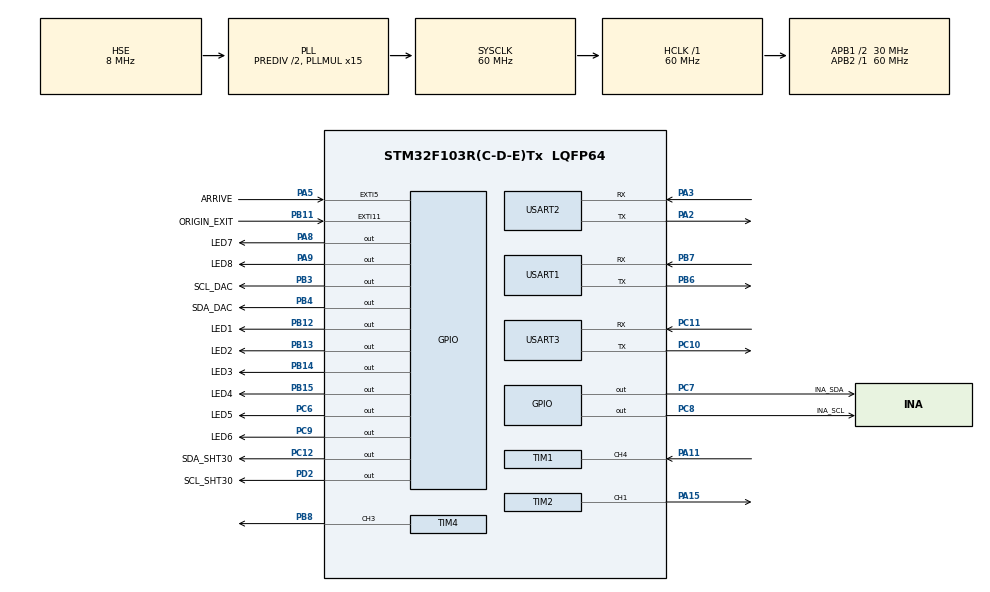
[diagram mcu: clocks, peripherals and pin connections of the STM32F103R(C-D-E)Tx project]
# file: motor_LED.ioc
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Dma.Request0=USART1_TX
Dma.Request1=USART1_RX
Dma.Request2=USART3_TX
Dma.Request3=USART3_RX
Dma.Request4=USART2_TX
Dma.USART1_RX.1.Direction=DMA_PERIPH_TO_MEMORY
Dma.USART1_RX.1.Instance=DMA1_Channel5
Dma.USART1_RX.1.MemDataAlignment=DMA_MDATAALIGN_BYTE
Dma.USART1_RX.1.MemInc=DMA_MINC_ENABLE
Dma.USART1_RX.1.Mode=DMA_NORMAL
Dma.USART1_RX.1.PeriphDataAlignment=DMA_PDATAALIGN_BYTE
Dma.USART1_RX.1.PeriphInc=DMA_PINC_DISABLE
Dma.USART1_RX.1.Priority=DMA_PRIORITY_LOW
Dma.USART1_TX.0.Direction=DMA_MEMORY_TO_PERIPH
Dma.USART1_TX.0.Instance=DMA1_Channel4
Dma.USART1_TX.0.MemDataAlignment=DMA_MDATAALIGN_BYTE
Dma.USART1_TX.0.MemInc=DMA_MINC_ENABLE
Dma.USART1_TX.0.Mode=DMA_NORMAL
Dma.USART1_TX.0.PeriphDataAlignment=DMA_PDATAALIGN_BYTE
Dma.USART1_TX.0.PeriphInc=DMA_PINC_DISABLE
Dma.USART1_TX.0.Priority=DMA_PRIORITY_LOW
Dma.USART2_TX.4.Direction=DMA_MEMORY_TO_PERIPH
Dma.USART2_TX.4.Instance=DMA1_Channel7
Dma.USART2_TX.4.MemDataAlignment=DMA_MDATAALIGN_BYTE
Dma.USART2_TX.4.MemInc=DMA_MINC_ENABLE
Dma.USART2_TX.4.Mode=DMA_NORMAL
Dma.USART2_TX.4.PeriphDataAlignment=DMA_PDATAALIGN_BYTE
Dma.USART2_TX.4.PeriphInc=DMA_PINC_DISABLE
Dma.USART2_TX.4.Priority=DMA_PRIORITY_LOW
Dma.USART3_RX.3.Direction=DMA_PERIPH_TO_MEMORY
Dma.USART3_RX.3.Instance=DMA1_Channel3
Dma.USART3_RX.3.MemDataAlignment=DMA_MDATAALIGN_BYTE
Dma.USART3_RX.3.MemInc=DMA_MINC_ENABLE
Dma.USART3_RX.3.Mode=DMA_NORMAL
Dma.USART3_RX.3.PeriphDataAlignment=DMA_PDATAALIGN_BYTE
Dma.USART3_RX.3.PeriphInc=DMA_PINC_DISABLE
Dma.USART3_RX.3.Priority=DMA_PRIORITY_LOW
Dma.USART3_TX.2.Direction=DMA_MEMORY_TO_PERIPH
Dma.USART3_TX.2.Instance=DMA1_Channel2
Dma.USART3_TX.2.MemDataAlignment=DMA_MDATAALIGN_BYTE
Dma.USART3_TX.2.MemInc=DMA_MINC_ENABLE
Dma.USART3_TX.2.Mode=DMA_NORMAL
Dma.USART3_TX.2.PeriphDataAlignment=DMA_PDATAALIGN_BYTE
Dma.USART3_TX.2.PeriphInc=DMA_PINC_DISABLE
Dma.USART3_TX.2.Priority=DMA_PRIORITY_LOW
Mcu.Family=STM32F1
Mcu.Name=STM32F103R(C-D-E)Tx
Mcu.Package=LQFP64
NVIC.DMA1_Channel2_IRQn=true\:0\:0\:false\:false\:true\:true\:true\:true
NVIC.DMA1_Channel3_IRQn=true\:0\:0\:false\:false\:true\:true\:true\:true
NVIC.DMA1_Channel4_IRQn=true\:0\:0\:false\:false\:true\:true\:true\:true
NVIC.DMA1_Channel5_IRQn=true\:0\:0\:false\:false\:true\:true\:true\:true
NVIC.DMA1_Channel7_IRQn=true\:0\:0\:false\:false\:true\:true\:true\:true
NVIC.EXTI15_10_IRQn=true\:1\:0\:true\:false\:true\:true\:true\:true
NVIC.EXTI9_5_IRQn=true\:0\:0\:false\:false\:true\:true\:true\:true
NVIC.PriorityGroup=NVIC_PRIORITYGROUP_4
NVIC.TIM2_IRQn=true\:0\:0\:false\:false\:true\:true\:true\:true
NVIC.TIM3_IRQn=true\:0\:0\:false\:false\:true\:true\:true\:true
NVIC.TIM4_IRQn=true\:0\:0\:false\:false\:true\:true\:true\:true
NVIC.USART1_IRQn=true\:0\:0\:false\:false\:true\:true\:true\:true
NVIC.USART2_IRQn=true\:0\:0\:false\:false\:true\:true\:true\:true
NVIC.USART3_IRQn=true\:0\:0\:false\:false\:true\:true\:true\:true
PA11.Signal=S_TIM1_CH4
PA13.Mode=Serial_Wire
PA13.Signal=SYS_JTMS-SWDIO
PA14.Mode=Serial_Wire
PA14.Signal=SYS_JTCK-SWCLK
PA15.Signal=S_TIM2_CH1_ETR
PA2.Mode=Asynchronous
PA2.Signal=USART2_TX
PA3.Mode=Asynchronous
PA3.Signal=USART2_RX
PA5.GPIO_Label=ARRIVE
PA5.GPIO_ModeDefaultEXTI=GPIO_MODE_IT_RISING
PA5.GPIO_PuPd=GPIO_PULLUP
PA5.Signal=GPXTI5
PA8.GPIO_Label=LED7
PA8.Signal=GPIO_Output
PA9.GPIO_Label=LED8
PA9.Signal=GPIO_Output
PB11.GPIO_Label=ORIGIN_EXIT
PB11.GPIO_PuPd=GPIO_PULLDOWN
PB11.Signal=GPXTI11
PB12.GPIO_Label=LED1
PB12.Signal=GPIO_Output
PB13.GPIO_Label=LED2
PB13.Signal=GPIO_Output
PB14.GPIO_Label=LED3
PB14.Signal=GPIO_Output
PB15.GPIO_Label=LED4
PB15.Signal=GPIO_Output
PB3.GPIO_Label=SCL_DAC
PB3.GPIO_ModeDefaultOutputPP=GPIO_MODE_OUTPUT_OD
PB3.GPIO_PuPd=GPIO_PULLUP
PB3.GPIO_Speed=GPIO_SPEED_FREQ_HIGH
PB3.PinState=GPIO_PIN_SET
PB3.Signal=GPIO_Output
PB4.GPIO_Label=SDA_DAC
PB4.GPIO_ModeDefaultOutputPP=GPIO_MODE_OUTPUT_OD
PB4.GPIO_PuPd=GPIO_PULLUP
PB4.GPIO_Speed=GPIO_SPEED_FREQ_HIGH
PB4.PinState=GPIO_PIN_SET
PB4.Signal=GPIO_Output
PB6.Mode=Asynchronous
PB6.Signal=USART1_TX
PB7.Mode=Asynchronous
PB7.Signal=USART1_RX
PB8.Signal=S_TIM4_CH3
PC10.Mode=Asynchronous
PC10.Signal=USART3_TX
PC11.Mode=Asynchronous
PC11.Signal=USART3_RX
PC12.GPIO_Label=SDA_SHT30
PC12.GPIO_ModeDefaultOutputPP=GPIO_MODE_OUTPUT_OD
PC12.GPIO_PuPd=GPIO_PULLUP
PC12.GPIO_Speed=GPIO_SPEED_FREQ_HIGH
PC12.PinState=GPIO_PIN_SET
PC12.Signal=GPIO_Output
PC6.GPIO_Label=LED5
PC6.Signal=GPIO_Output
PC7.GPIO_Label=INA_SDA
PC7.GPIO_ModeDefaultOutputPP=GPIO_MODE_OUTPUT_OD
PC7.GPIO_PuPd=GPIO_PULLUP
PC7.GPIO_Speed=GPIO_SPEED_FREQ_HIGH
PC7.PinState=GPIO_PIN_SET
PC7.Signal=GPIO_Output
PC8.GPIO_Label=INA_SCL
PC8.GPIO_ModeDefaultOutputPP=GPIO_MODE_OUTPUT_OD
PC8.GPIO_PuPd=GPIO_PULLUP
PC8.GPIO_Speed=GPIO_SPEED_FREQ_HIGH
PC8.PinState=GPIO_PIN_SET
PC8.Signal=GPIO_Output
PC9.GPIO_Label=LED6
PC9.Signal=GPIO_Output
PD0-OSC_IN.Mode=HSE-External-Oscillator
PD0-OSC_IN.Signal=RCC_OSC_IN
PD1-OSC_OUT.Mode=HSE-External-Oscillator
PD1-OSC_OUT.Signal=RCC_OSC_OUT
PD2.GPIO_Label=SCL_SHT30
PD2.GPIO_ModeDefaultOutputPP=GPIO_MODE_OUTPUT_OD
PD2.GPIO_PuPd=GPIO_PULLUP
PD2.GPIO_Speed=GPIO_SPEED_FREQ_HIGH
PD2.PinState=GPIO_PIN_SET
PD2.Signal=GPIO_Output
ProjectManager.HeapSize=0x200
ProjectManager.StackSize=0x400
ProjectManager.TargetToolchain=MDK-ARM V5
RCC.AHBFreq_Value=60000000
RCC.APB1CLKDivider=RCC_HCLK_DIV2
RCC.APB1Freq_Value=30000000
RCC.APB1TimFreq_Value=60000000
RCC.APB2Freq_Value=60000000
RCC.APB2TimFreq_Value=60000000
RCC.HCLKFreq_Value=60000000
RCC.HSEDivPLL=RCC_HSE_PREDIV_DIV2
RCC.PLLMUL=RCC_PLL_MUL15
RCC.PLLSourceVirtual=RCC_PLLSOURCE_HSE
RCC.SYSCLKFreq_VALUE=60000000
RCC.SYSCLKSource=RCC_SYSCLKSOURCE_PLLCLK
RCC.USBFreq_Value=60000000
SH.S_TIM1_CH4.0=TIM1_CH4,Input_Capture4_from_TI4
SH.S_TIM2_CH1_ETR.0=TIM2_CH1,PWM Generation1 CH1
SH.S_TIM4_CH3.0=TIM4_CH3,PWM Generation3 CH3
TIM1.Channel-Input_Capture4_from_TI4=TIM_CHANNEL_4
TIM1.Prescaler=60-1
TIM2.Channel-PWM\ Generation1\ CH1=TIM_CHANNEL_1
TIM2.OCPolarity_1=TIM_OCPOLARITY_LOW
TIM2.Period=1000-1
TIM2.Prescaler=3-1
TIM2.Pulse-PWM\ Generation1\ CH1=0
TIM3.Period=1000-1
TIM3.Prescaler=60-1
TIM4.Channel-PWM\ Generation3\ CH3=TIM_CHANNEL_3
TIM4.Period=1000-1
TIM4.Prescaler=3-1
USART1.VirtualMode=VM_ASYNC
USART2.VirtualMode=VM_ASYNC
USART3.VirtualMode=VM_ASYNC
VP_TIM1_VS_ClockSourceINT.Mode=Internal
VP_TIM2_VS_ClockSourceINT.Mode=Internal
VP_TIM3_VS_ClockSourceINT.Mode=Internal
VP_TIM4_VS_ClockSourceINT.Mode=Internal
board=custom

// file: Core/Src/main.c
/* USER CODE BEGIN Header */
/**
  ******************************************************************************
  * @file           : main.c
  * @brief          : Main program body
  ******************************************************************************
  * @attention
  *
  * <h2><center>&copy; Copyright (c) 2024 STMicroelectronics.
  * All rights reserved.</center></h2>
  *
  * This software component is licensed by ST under BSD 3-Clause license,
  * the "License"; You may not use this file except in compliance with the
  * License. You may obtain a copy of the License at:
  *                        opensource.org/licenses/BSD-3-Clause
  *
  ******************************************************************************
  */
/* USER CODE END Header */
#include "main.h"
#include "dma.h"
#include "tim.h"
#include "usart.h"
#include "gpio.h"

/* USER CODE BEGIN Includes */
#include "stdio.h"
#include "string.h"
#include "myiic.h"
#include "GP8211S.h"
#include "./delay/core_delay.h"
#include <stdlib.h>
#include "motor_ctrl.h"
#include "sht30.h"
#include "ina228.h"
#include "spectrum.h"
#include "pid.h"
#include "pid_dowith.h"
#include "pid_shared.h"
/* USER CODE END Includes */

/* USER CODE BEGIN PTD */
extern TIM_HandleTypeDef htim2;
extern TIM_HandleTypeDef htim3;
extern TIM_HandleTypeDef htim4;
extern DMA_HandleTypeDef hdma_usart1_tx;
extern DMA_HandleTypeDef hdma_usart1_rx;
extern DMA_HandleTypeDef hdma_usart2_tx;
extern DMA_HandleTypeDef hdma_usart3_tx;
extern DMA_HandleTypeDef hdma_usart3_rx;
extern UART_HandleTypeDef huart1;
extern UART_HandleTypeDef huart2;
extern UART_HandleTypeDef huart3;
extern int k_zhendang_1,k_zhendang_2,PID_fly;
uint8_t  ina1s_flag,temp_flag,adj_flag,printf_flag;
uint8_t  temp_times;//Current_VALUE,
uint8_t TASK_BUFF[20];
/* USER CODE END PTD */

/* USER CODE BEGIN PV */
float Singer_Temp,Total_Temp,Current_VALUE,Temp,Hum;			//声明变量存放温湿度数据
uint8_t str_len;
uint8_t motor_flag,light_flag,reset_flag=0,ina_flag=0,baseflag=0,mode_flag=0,arrive_flag=1,Nchange_flag=0,rx_flag=0,get_bc_flag=0,get_bt_flag=0,temp_printf_flag=0;

int LED_Val;//LED的占空比
int	LED_Val_1=0,LED_Val_2=0,LED_Val_3=0,LED_Val_4=0;
//extern float LED_spec[6];

int32_t Current_Reg_VALUE,Bus_V_Reg_VALUE;

float LED_temp,LED_current;
float VBUS_VALUE,BASE_Current,BASE_VBUS,BASE_TEMP,ADJ_TEMP;
float adj_current;
__IO float TARGET;
float USER_SETDC=0,NOW_SETDC;
char CURRENT_BUFF[9];
char CMP_BUFF[10];//触摸屏发送报文
uint8_t BUSY_BUFF[3]={0x30,0xEE,0xEE};
uint8_t ERROR_BUFF[3]={0x30,0xFF,0xFF};

#define 	NOISE_VBUS 10//10mV电压噪声
#define   SHUNT_X    0.963//0.963//电流系数
#define   ADJ_L8		 7.317//LED8的校准因子
#define   K7			-0.54

#define   K_385   -0.4632	 //
#define   K_435   -0.1276		 //合丰435
#define   K_488		-0.1387  //合丰488nm
#define   K_520   -0.1741	 //yf520
//#define   K_520   -0.1498	 //散热80%测得
#define   K_560   -0.2231	 //553nm
#define		K_635		-0.6727
#define   K_805   -0.323	 //盈峰805nm

#define   current_key    0//维持电流稳定
#define		adj_key				 1//维持功率稳定
#define		NONE				 2//无任何调节
uint8_t		MODE=NONE ;//默认维持电流稳定
//电机结构体
typedef struct
{
	uint32_t	 CLK;//电机移动需要的脉冲
	uint32_t	 NOW_POS;//电机现在位置
	uint32_t	 TARGET_POS;//电机目标位置
	uint8_t  	 DIR;//电机移动的方向
	uint8_t  	 STATE;//电机的状态
}motor;
motor	MOTOR  = {0,0,0,0,0};
//电机状态
#define MOTOR_STOP		0x00			//电机停止
#define MOTOR_RUN			0x01			//电机运行

#define MOTOR_ADD 		0x01			//电机地址
//电机移动方向
#define RESET_DIR			0x00			//复位方向
#define MOVE_UP				0x00      //向上移动
#define MOVE_DOWN 		0x01 			//向下移动
//电机速度
#define RESET_SPEED 	30 				//复位速度30RPM
#define CHANGE_SPEED  600			//LED切换速度
//加减速时间,加减速时间计算公式：t2 - t1 = (256 - acc) * 50(us)，Vt2 = Vt1 + 1(RPM)（注：acc 为加速度档位，Vt1为 t1 时刻的转速，Vt2为 t2 时刻的转速）
#define RESET_ACC 		0xFC 			//复位加减速
#define CHANGE_ACC		0xFF			//LED切换速度
//细分
#define MSETP					256
//脉冲数
#define RESET_CLK			900*MSETP	//复位最大脉冲
#define MOVE_1LED			100*MSETP	//移动一个LED脉冲
#define MOVE_2LED			200*MSETP
#define MOVE_3LED			300*MSETP
#define MOVE_4LED			400*MSETP
#define MOVE_5LED			500*MSETP
#define MOVE_6LED			600*MSETP
#define MOVE_7LED			700*MSETP
#define MOVE_8LED			800*MSETP
//移动模式，相位/绝对模式，false为相对运动，true为绝对运动
#define REL_MODE			false
#define ABS_MODE			true
//多机同步标志 ，false为不启用，true为启用
#define SINGLE_MODE		false

uint8_t WPID_BUFF[17]={0x01 ,0x4A ,0xC3 ,0x010 ,0x00 ,0x00 ,0x7D ,0x00 ,0x00 ,0x00 ,0x00 ,0x0A ,0x00 ,0x00 ,0x7D ,0x00 ,0x6B};
uint8_t RPID_BUFF[3]={0x01 ,0x21 ,0x6B};
//10WLED位置宏定义八波长
//#define POS_ORIGIN	MSETP*(105   )
//#define POS_LED1		MSETP*(105   )
//#define POS_LED2		MSETP*(196   )
//#define POS_LED3		MSETP*(291   )
//#define POS_LED4		MSETP*(385     )
//#define POS_LED5		MSETP*(481      )
//#define POS_LED6		MSETP*(577       )
//#define POS_LED7		MSETP*(670     )
//#define POS_LED8		MSETP*(768	   )
//自用3WLED位置宏定义八波长
//#define POS_ORIGIN	MSETP*(100   )
//#define POS_LED1		MSETP*(100   )
//#define POS_LED2		MSETP*(195   )
//#define POS_LED3		MSETP*(286   )
//#define POS_LED4		MSETP*(383     )
//#define POS_LED5		MSETP*(480      )
//#define POS_LED6		MSETP*(572       )
//#define POS_LED7		MSETP*(670     )
//#define POS_LED8		MSETP*(760	   )
////魏老师红外3WLED位置宏定义八波长
//#define POS_ORIGIN	MSETP*(98   )
//#define POS_LED1		MSETP*(98   )
//#define POS_LED2		MSETP*(198   )
//#define POS_LED3		MSETP*(295   )
//#define POS_LED4		MSETP*(387     )
//#define POS_LED5		MSETP*(483      )
//#define POS_LED6		MSETP*(579       )
//#define POS_LED7		MSETP*(670     )
//#define POS_LED8		MSETP*(760	   )
////小论文四波长，LED位置宏定义
#define POS_ORIGIN	MSETP*(148   )
#define POS_LED1		MSETP*(148   )
#define POS_LED2		MSETP*(332   )
#define POS_LED3		MSETP*(528   )
#define POS_LED4		MSETP*(720     )
#define POS_LED5		MSETP*(483      )
#define POS_LED6		MSETP*(579       )
#define POS_LED7		MSETP*(670     )
#define POS_LED8		MSETP*(768	   )
//#define POS_ORIGIN	MSETP*(100  -0   )
//#define POS_LED1		MSETP*(100  -0   )
//#define POS_LED2		MSETP*(200  -0   )
//#define POS_LED3		MSETP*(300  -0   )
//#define POS_LED4		MSETP*(400    -0   )
//#define POS_LED5		MSETP*(500    -0   )
//#define POS_LED6		MSETP*(600    -0   )
//#define POS_LED7		MSETP*(700 -0   )
//#define POS_LED8		MSETP*(800    -0   )
//LED开关宏定义
#define	ON_LED1			HAL_GPIO_WritePin(LED1_GPIO_Port,LED1_Pin,GPIO_PIN_SET)
#define ON_LED2			HAL_GPIO_WritePin(LED2_GPIO_Port,LED2_Pin,GPIO_PIN_SET)
#define	ON_LED3			HAL_GPIO_WritePin(LED3_GPIO_Port,LED3_Pin,GPIO_PIN_SET)
#define	ON_LED4     HAL_GPIO_WritePin(LED4_GPIO_Port,LED4_Pin,GPIO_PIN_SET)
#define	ON_LED5     HAL_GPIO_WritePin(LED5_GPIO_Port,LED5_Pin,GPIO_PIN_SET)
#define	ON_LED6     HAL_GPIO_WritePin(LED6_GPIO_Port,LED6_Pin,GPIO_PIN_SET)
#define	ON_LED7     HAL_GPIO_WritePin(LED7_GPIO_Port,LED7_Pin,GPIO_PIN_SET)
#define	ON_LED8     HAL_GPIO_WritePin(LED8_GPIO_Port,LED8_Pin,GPIO_PIN_SET)

#define	OFF_LED1		HAL_GPIO_WritePin(LED1_GPIO_Port,LED1_Pin,GPIO_PIN_RESET)
#define OFF_LED2		HAL_GPIO_WritePin(LED2_GPIO_Port,LED2_Pin,GPIO_PIN_RESET)
#define	OFF_LED3		HAL_GPIO_WritePin(LED3_GPIO_Port,LED3_Pin,GPIO_PIN_RESET)
#define	OFF_LED4    HAL_GPIO_WritePin(LED4_GPIO_Port,LED4_Pin,GPIO_PIN_RESET)
#define	OFF_LED5    HAL_GPIO_WritePin(LED5_GPIO_Port,LED5_Pin,GPIO_PIN_RESET)
#define	OFF_LED6    HAL_GPIO_WritePin(LED6_GPIO_Port,LED6_Pin,GPIO_PIN_RESET)
#define	OFF_LED7    HAL_GPIO_WritePin(LED7_GPIO_Port,LED7_Pin,GPIO_PIN_RESET)
#define	OFF_LED8    HAL_GPIO_WritePin(LED8_GPIO_Port,LED8_Pin,GPIO_PIN_RESET)

/* USER CODE END PV */

void SystemClock_Config(void);

/* USER CODE BEGIN 0 */

uint16_t temp_counter,current_counter,printf_couner;
void HAL_TIM_PeriodElapsedCallback(TIM_HandleTypeDef *htim)
{
	if(htim->Instance==TIM3)
	{
		temp_counter++;current_counter++;printf_couner++;
		if(temp_counter==100)
		{
		temp_flag=1;
		temp_counter=0;
		}
		if(current_counter==50)
		{
		ina1s_flag=1;
		current_counter=0;
		}
		if(printf_couner==1000)
		{
		printf_flag=1;
		printf_couner=0;
		}
	}
}
void HAL_UARTEx_RxEventCallback(UART_HandleTypeDef *huart, uint16_t Size)
{
		  if(huart->Instance == USART1)
			{
				__HAL_UART_CLEAR_IDLEFLAG(&huart1);
				HAL_UART_DMAStop(&huart1);
				memcpy(TASK_BUFF,RX_BUFF,Size);
				rx_flag=1;
				str_len = Size;
				HAL_UARTEx_ReceiveToIdle_DMA(&huart1, RX_BUFF, 100);
				//__HAL_DMA_DISABLE_IT(&hdma_usart1_rx,DMA_IT_HT);//关闭DMA半满中断
			}
			if(huart->Instance == USART3)
			{
				__HAL_UART_CLEAR_IDLEFLAG(&huart3);
				HAL_UART_DMAStop(&huart3);
			  rx_flag=1;
				str_len = Size;
				if(Size==4)
				{
					rx_flag=1;//接收完成
					str_len = Size;//数据长度
					memcpy(TASK_BUFF,RX_BUFF,Size);
				}
				if(Size<4)
				{
					static uint8_t offset_len=0;//存储上次的长度
					memcpy(TASK_BUFF+offset_len,RX_BUFF,Size);
					offset_len+=Size;
					if(offset_len<4)
					{
						rx_flag=0;
					}
					else if(offset_len==4)
					{
						rx_flag=1;
						str_len=4;
						offset_len=0;
					}

					else if(offset_len>4)
					{
						rx_flag=0;
						offset_len=0;
					}
				}
				HAL_UARTEx_ReceiveToIdle_DMA(&huart3, RX_BUFF, 100);
				//__HAL_DMA_DISABLE_IT(&hdma_usart3_rx,DMA_IT_HT);
			}
}
int fputc(int ch, FILE * f){
		HAL_UART_Transmit_DMA(&huart1, (uint8_t *)&ch, 1);///<普通串口发送数据
  while(__HAL_UART_GET_FLAG(&huart1, UART_FLAG_TC) == RESET){}///<等待发送完成
  return ch;
}
void reset_task(void)
{
	OFF_LED1;
  OFF_LED2;
	OFF_LED3;
	OFF_LED4;
	OFF_LED5;
	OFF_LED6;
	OFF_LED7;
	OFF_LED8;
	HAL_TIM_PWM_Start(&htim2,TIM_CHANNEL_1);
	HAL_Delay(1000);
}
void light_off(void)
{
		HAL_TIM_PWM_Stop(&htim4,TIM_CHANNEL_3);
	  OFF_LED1;OFF_LED2;OFF_LED3;OFF_LED4;OFF_LED5;OFF_LED6;OFF_LED7;OFF_LED8;
}

void motor_task()
{
	if(MOTOR.NOW_POS>MOTOR.TARGET_POS)//电机需要向上移
	{
		light_off();//移动前先关闭LED
		MOTOR.DIR=MOVE_UP	;//向上移动
		MOTOR.CLK=MOTOR.NOW_POS-MOTOR.TARGET_POS;		//计算相对移动脉冲
		Emm_V5_Pos_Control(MOTOR_ADD, MOTOR.DIR, CHANGE_SPEED, CHANGE_ACC, MOTOR.CLK, REL_MODE, SINGLE_MODE);//控制电机移动
		MOTOR.NOW_POS=MOTOR.TARGET_POS;//电机现在位置变为目标位置
		arrive_flag=0;//电机移动中，到位标志位清零
	}
	else if(MOTOR.NOW_POS<MOTOR.TARGET_POS)//电机需要向下移
	{
		light_off();
		MOTOR.DIR=MOVE_DOWN;//向下移动
		MOTOR.CLK=MOTOR.TARGET_POS-MOTOR.NOW_POS;
		Emm_V5_Pos_Control(MOTOR_ADD, MOTOR.DIR, CHANGE_SPEED, CHANGE_ACC, MOTOR.CLK, REL_MODE, SINGLE_MODE);
		MOTOR.NOW_POS=MOTOR.TARGET_POS;
		arrive_flag=0;
	}
	else//电机无需移动
	{
		arrive_flag=1;//电机到位
	}
}

//LED控制任务
// 去掉 motor_task() 的调用和 arrive_flag 逻辑
// 在 UART 解析里：
// if (valid_cmd) { light_flag = 1; /* 不再设置 motor_flag */ }

// 在全局范围声明
uint8_t channel;  // 1–8 为 LED，9 为风扇，0x0A 为模式切换
uint8_t action;   // 0x10 开，0x01 关
uint8_t level;    // 0–100

 //重写 light_task：
void light_task(void)
{
	    // ★ 新增：锁 & 记忆当前通道
    static uint8_t user_setdc_locked = 0;   // 0 可更新；1 锁定，不再被报文覆盖
    static uint8_t last_led_channel  = 0;   // 上一次工作的 LED 通道 (1~8

     channel = TASK_BUFF[1];  // 1–8 为 LED，9 为风扇，0x0A 为模式切换
     action  = TASK_BUFF[3];  // 0x10 开，0x01 关
     level   = TASK_BUFF[2];  // 0–100

    // --------- 模式切换 ---------
    if (channel == 0x0A) {
        mode_flag = (level == 1) ? 1 : 0;  // 0：模拟调光，1：PWM 调光
        return;
    }

    // --------- 风扇控制 ---------
    if (channel == 9) {
        if (action == 0x10) { // 开风扇
            uint16_t pwm = (level == 100)
                ? (level * 10 - 1)
                : (level > 0 ? level * 10 : 0);
            TIM2->CCR1 = pwm;
            if (pwm) HAL_TIM_PWM_Start(&htim2, TIM_CHANNEL_2);
            else     HAL_TIM_PWM_Stop(&htim2, TIM_CHANNEL_2);
        } else if (action == 0x01) { // 关风扇
            TIM2->CCR1 = 0;
            HAL_TIM_PWM_Stop(&htim2, TIM_CHANNEL_2);
        }
        return;
    }

    // --------- LED 调光 ---------
    if (channel >= 1 && channel <= 8)
    {
//			        // ★ 若切换了 LED 通道，允许下一次 ON 更新 USER_SETDC
//        if (channel != last_led_channel) {
//            user_setdc_locked = 0;
//            last_led_channel  = channel;
//        }
        if (action == 0x10) // 开灯并调光
        {
            // ★ 仅在“未锁定”时，从报文写入一次 USER_SETDC，并同步初始化 NOW_SETDC
         //   if (!user_setdc_locked) {
                USER_SETDC = level;     // 只在首次 ON 或切换通道后的首次 ON 覆盖
                NOW_SETDC  = USER_SETDC; // 初始化一次，之后由你在别处实时调整
         //       user_setdc_locked = 1;   // 上锁：后续同通道的 ON 报文不再覆盖
         //   }
            if (mode_flag == 0)  // 模拟调光 (DAC)
            {
                if (USER_SETDC == 0) {
                    TIM4->CCR3 = 0;
                } else {
                    //float voltage = (USER_SETDC) / 10.0f;
                    GP8211S_Set_Value(GP8211S_Add, (NOW_SETDC)/100.0f*10);
                    TARGET = (NOW_SETDC)/100.0f*10;
                    TIM4->CCR3 = 4500;
                }
            }
            else                // PWM 调光
            {
                GP8211S_Set_Value(GP8211S_Add, 10.0f);
                if (USER_SETDC == 0)      TIM4->CCR3 = 0;
                else if (USER_SETDC == 100) TIM4->CCR3 = 4500 - 1;
                else                      TIM4->CCR3 = USER_SETDC * 45;
            }

		if(MOTOR.TARGET_POS==POS_LED1)		 {	OFF_LED2;OFF_LED3;OFF_LED4;OFF_LED5;OFF_LED6;OFF_LED7;OFF_LED8;ON_LED1; }//目标LED是1号，关闭其他LED，仅开启1号LED
		else if(MOTOR.TARGET_POS==POS_LED2){	OFF_LED1;OFF_LED3;OFF_LED4;OFF_LED5;OFF_LED6;OFF_LED7;OFF_LED8;ON_LED2; }
		else if(MOTOR.TARGET_POS==POS_LED3){	OFF_LED1;OFF_LED2;OFF_LED4;OFF_LED5;OFF_LED6;OFF_LED7;OFF_LED8;ON_LED3; }
		else if(MOTOR.TARGET_POS==POS_LED4){	OFF_LED1;OFF_LED2;OFF_LED3;OFF_LED5;OFF_LED6;OFF_LED7;OFF_LED8;ON_LED4; }
		else if(MOTOR.TARGET_POS==POS_LED5){	OFF_LED1;OFF_LED2;OFF_LED3;OFF_LED4;OFF_LED6;OFF_LED7;OFF_LED8;ON_LED5; }
		else if(MOTOR.TARGET_POS==POS_LED6){	OFF_LED1;OFF_LED2;OFF_LED3;OFF_LED4;OFF_LED5;OFF_LED7;OFF_LED8;ON_LED6; }
		else if(MOTOR.TARGET_POS==POS_LED7){	OFF_LED1;OFF_LED2;OFF_LED3;OFF_LED4;OFF_LED5;OFF_LED6;OFF_LED8;ON_LED7; }
		else if(MOTOR.TARGET_POS==POS_LED8){	OFF_LED1;OFF_LED2;OFF_LED3;OFF_LED4;OFF_LED5;OFF_LED6;OFF_LED7;ON_LED8; }
//
//            // 先关闭所有 LED，再打开指定通道
//            OFF_LED1; OFF_LED2; OFF_LED3; OFF_LED4;
//            OFF_LED5; OFF_LED6; OFF_LED7; OFF_LED8;

//						switch (channel) {
//                case 1: ON_LED1; break;//yingguangqd();
//                case 2: ON_LED2; break;
//                case 3: ON_LED3; break;
//                case 4: ON_LED4; break;
//                case 5: ON_LED5; break;
//                case 6: ON_LED6; break;
//                case 7: ON_LED7; break;
//                case 8: ON_LED8; break;
//            }

            HAL_TIM_PWM_Start(&htim4, TIM_CHANNEL_3);
            HAL_Delay(100);
            ina_flag  = 1;
            baseflag  = 1;
        }
        else if (action == 0x01) // 关灯
        {
            light_off();
            ina_flag     = 0;
            Current_VALUE= 0;
            VBUS_VALUE   = 0;

//					  // ★ 关灯时解锁：允许下一次 ON 用新 level 覆盖 USER_SETDC
//            user_setdc_locked = 0;
        }
    }
}

//电流测量任务
void ina_task()
{
		if(baseflag==1)
		{
			//HAL_Delay(100);
			BASE_Current=GET_CURRENT()*SHUNT_X;//初始电流
			BASE_VBUS=GET_VBUS()-NOISE_VBUS;//初始电压
			//pri【ntf("BV%.3f,BC:mA%.3f\r\n",BASE_VBUS,BASE_Current);
			get_bc_flag=1;
			if(get_bc_flag==1&&get_bt_flag==1)//得到初始电流和初始温度
			{
				baseflag=0;//调节基准标志位设置为0
				get_bc_flag=0;//初始电流获取标志位设置为0
				get_bt_flag=0;//初始温度获取标志位设置为0
			}
		}
		else
		{
			Current_VALUE=GET_CURRENT()*SHUNT_X;//当前电流
			VBUS_VALUE=GET_VBUS()-NOISE_VBUS;//当前电压
			adj_flag=1;//完成电流测量，调节任务可开启
		}
}

void HAL_GPIO_EXTI_Callback(uint16_t GPIO_Pin)
{
  if(GPIO_Pin==GPIO_PIN_11)
	{
		if(HAL_GPIO_ReadPin(GPIOB,GPIO_PIN_11)==GPIO_PIN_SET)
		{
			__HAL_GPIO_EXTI_CLEAR_IT(GPIO_PIN_11);//清除到位检测外部中断标志位，避免误触发外部中断
			reset_flag=1;
		}
	}
		 if(GPIO_Pin==GPIO_PIN_5)
		{
			if(TASK_BUFF[0]!=0)
			{
				//电机已经切换到位
				if(HAL_GPIO_ReadPin(GPIOA,GPIO_PIN_5)==GPIO_PIN_SET)
				{
					__HAL_GPIO_EXTI_CLEAR_IT(GPIO_PIN_5);//清除到位检测外部中断标志位，避免误触发外部中断
					arrive_flag=1;
				}
			}
		}
}

//模拟调制方案

/* USER CODE END 0 */

int main(void)
	{

  /* MCU Configuration--------------------------------------------------------*/

  /* Reset of all peripherals, Initializes the Flash interface and the Systick. */
  HAL_Init();

  /* Configure the system clock */
  SystemClock_Config();

  /* Initialize all configured peripherals */
  MX_GPIO_Init();
  MX_DMA_Init();
  MX_TIM1_Init();
  MX_TIM2_Init();
  MX_TIM4_Init();
  MX_USART1_UART_Init();
  MX_USART2_UART_Init();
  MX_USART3_UART_Init();
  MX_TIM3_Init();
  /* USER CODE BEGIN 2 */
	IIC_Init();
	INAIIC_Init();
	INA228_Init();
	GP8211S_Init();
	SHT3x_Init();

	reset_task();//复位LED，打开风扇
	Emm_V5_Pos_Control(MOTOR_ADD,	MOVE_DOWN, CHANGE_SPEED, RESET_ACC, MOVE_1LED , REL_MODE, SINGLE_MODE);//电机先下移
	HAL_Delay(1000);
	Emm_V5_Pos_Control(MOTOR_ADD,	RESET_DIR, RESET_SPEED, RESET_ACC, RESET_CLK , REL_MODE, SINGLE_MODE);//电机向上移动
	while(reset_flag==0)//等待电机到达原点
	{};
		Emm_V5_Stop_Now(MOTOR_ADD,false);//电机到原点，控制电机急停
		HAL_Delay(50);
//		Emm_V5_Reset_CurPos_To_Zero(MOTOR_ADD);
		MOTOR.NOW_POS = 0;//电机位置设置为0
		Emm_V5_Pos_Control(MOTOR_ADD,	MOVE_DOWN, CHANGE_SPEED, CHANGE_ACC, POS_LED1 , REL_MODE, SINGLE_MODE);//控制电机移动到1号LED位置
		HAL_Delay(50);
		MOTOR.NOW_POS = POS_LED1;//电机位置设置为1号LED

		HAL_TIM_Base_Start_IT(&htim3);
		sprintf(CMP_BUFF,"page 1\xff\xff\xff");//发送给串口屏切换页面
		usart3_SendCmd(CMP_BUFF,9 );
		HAL_Delay(50);
		TIM2->CCR1=0;
		HAL_NVIC_SetPriority(EXTI9_5_IRQn, 5, 0);
		HAL_NVIC_EnableIRQ(EXTI9_5_IRQn);

		HAL_TIM_PWM_Start(&htim4, TIM_CHANNEL_3);
  /* USER CODE END 2 */

  /* Infinite loop */
  /* USER CODE BEGIN WHILE */
  while (1)
  {
	//接收到一帧数据
		if(rx_flag==1)
		{
			//printf("%s\r\n",RX_BUFF);
			//判断报文是否正确
			if(TASK_BUFF[0]==0x30&&TASK_BUFF[1]>=0x00&&TASK_BUFF[1]<=0x0d&&TASK_BUFF[2]>=0x00&&TASK_BUFF[2]<=0xB4&&(TASK_BUFF[3]==0x01||TASK_BUFF[3]==0x10))
			{
				//判断是否空闲(完成上一次切换或要进行首次切换)
				if(arrive_flag==1)//电机空闲
				{
				switch(TASK_BUFF[1])//判断要切换的通道号
				{
					case 0x01: MOTOR.TARGET_POS = POS_LED1;motor_flag=1;break;
					case 0x02: MOTOR.TARGET_POS = POS_LED2;motor_flag=1;break;
					case 0x03: MOTOR.TARGET_POS = POS_LED3;motor_flag=1;break;
					case 0x04: MOTOR.TARGET_POS = POS_LED4;motor_flag=1;break;
					case 0x05: MOTOR.TARGET_POS = POS_LED5;motor_flag=1;break;
					case 0x06: MOTOR.TARGET_POS = POS_LED6;motor_flag=1;break;
					case 0x07: MOTOR.TARGET_POS = POS_LED7;motor_flag=1;break;
					case 0x08: MOTOR.TARGET_POS = POS_LED8;motor_flag=1;break;
					case 0x09: //控制风扇
					if(TASK_BUFF[3]==0x10)//开启风扇
					{
						if(TASK_BUFF[2]<=20&&TASK_BUFF[2]>0)
						{
							TIM2->CCR1 = 200;
							HAL_TIM_PWM_Start(&htim2,TIM_CHANNEL_2);
						}
						else if(TASK_BUFF[2]==100)
						{
							TIM2->CCR1 = TASK_BUFF[2]*10-1;
							HAL_TIM_PWM_Start(&htim2,TIM_CHANNEL_2);
						}
						else if(TASK_BUFF[2]==0)
						{
							TIM2->CCR1 = 0;
							HAL_TIM_PWM_Stop(&htim2,TIM_CHANNEL_2);
						}
						else
						{
							TIM2->CCR1 = TASK_BUFF[2]*10;
							HAL_TIM_PWM_Start(&htim2,TIM_CHANNEL_2);
						}
					}
					if(TASK_BUFF[3]==0x01){TIM2->CCR1 = 0;}//关闭风扇
					break;
					case 0x0a://控制模式
					{
						if(TASK_BUFF[2]==0)//模拟调光
						{
							mode_flag=0;
						}
						if(TASK_BUFF[2]==1)//PWM调光
						{
							mode_flag=1;
						}
					}
					default:break;
				}
			}
				else
				{
					HAL_UART_Transmit_DMA(&huart1,BUSY_BUFF,3);//光源繁忙中
				}
		 }
			else//接收到的指令不正确
			{
				//HAL_UART_Transmit_DMA(&huart1,ERROR_BUFF,3);//发送错误报文
			}
			memset(RX_BUFF,0,str_len);//清除接收字符
			rx_flag=0;//接收完一帧数据
		}
		if(motor_flag==1)//电机需要切换通道
		{
			motor_task();
			motor_flag=0;
		  light_flag=1;
		}
		if(light_flag==1&&arrive_flag==1)//LED需要控制，并且电机已经完成切换
		{
			light_task();//执行LED任务
			HAL_UART_Transmit_DMA(&huart1,TASK_BUFF,4);//回传任务报文给上位机，表示任务已经执行
			light_flag=0;
		}
		if(temp_flag==1)//温度需要测量
		{
			ReadSHT3x(&Hum,&Temp);	//读取温湿度数据
			temp_printf_flag=1;//温度获取到，可打印到串口进行观测
			if(baseflag==1)//初始测量
			{
				BASE_TEMP=Temp;//初始温度
				get_bt_flag=1;//已经获取到初始温度
				if(get_bc_flag==1&&get_bt_flag==1)//初始温度和初始电流都获取到，标志位清零
				{
					baseflag=0;
					get_bc_flag=0;
					get_bt_flag=0;
				}
			}
			temp_flag=0;//完成温度测量，标志位清零
		}
		if(ina_flag==1&&ina1s_flag==1)
		{
			ina_task();
			ina1s_flag=0;

		}
		if(adj_flag==1)
		{
			//adj_task();
			adj_flag=0;
		}
		if(printf_flag==1&&temp_printf_flag==1)//1S打印一次信息。printf_flag为1表示一秒时间到，temp_printf_flag为1表示温度已经获取，到可打印串口
		{
//			char temp_buff[64];
			char buf[300];
//			light_task();//执行LED任务
//			HAL_UART_Transmit_DMA(&huart1,TASK_BUFF,4);
			LuxValueCorrect();

//						snprintf(buf, sizeof buf,
//             "%.2f %.3f\r\n",
//             (double)LED_spec[0], (double)LED_spec[1]);
//
						snprintf(buf, sizeof buf,
             "   %.2f %.3f\r\n",
             (double)LED_spec[2], (double)LED_spec[3]);

//						snprintf(buf, sizeof buf,
//             "%.2f %.3f\r\n",
//             (double)LED_spec[4], (double)LED_spec[5]);

//					snprintf(buf, sizeof buf,
//         "%.2f %.3f\r%.2f %.3f\r%.2f %.3f\r\n",
//         (double)LED_spec[0], (double)LED_spec[1],
//         (double)LED_spec[2], (double)LED_spec[3],
//         (double)LED_spec[4], (double)LED_spec[5]);
//
		//char buf[160];  // 够大，避免溢出
//    snprintf(buf, sizeof(buf),
//                     "T=%.2fC, I=%.3fmA, V=%.3fmV, P=%.2f%%, X=%.3f, Y=%.3f\r\n",
//                     (double)LED_spec[0], (double)LED_spec[1], (double)LED_spec[2],
//                     (double)LED_spec[3], (double)LED_spec[4], (double)LED_spec[5]);
			HAL_UART_Transmit_DMA(&huart1,(uint8_t*) buf,strlen( buf));//串口发送
			HAL_Delay(3);
			memset(buf,0,sizeof(buf));//清空buff
			printf_flag=0;
			temp_printf_flag=0;
		}
    /* USER CODE END WHILE */

  }
}

void SystemClock_Config(void)
{
  RCC_OscInitTypeDef RCC_OscInitStruct = {0};
  RCC_ClkInitTypeDef RCC_ClkInitStruct = {0};

  /** Initializes the RCC Oscillators according to the specified parameters
  * in the RCC_OscInitTypeDef structure.
  */
  RCC_OscInitStruct.OscillatorType = RCC_OSCILLATORTYPE_HSE;
  RCC_OscInitStruct.HSEState = RCC_HSE_ON;
  RCC_OscInitStruct.HSEPredivValue = RCC_HSE_PREDIV_DIV2;
  RCC_OscInitStruct.HSIState = RCC_HSI_ON;
  RCC_OscInitStruct.PLL.PLLState = RCC_PLL_ON;
  RCC_OscInitStruct.PLL.PLLSource = RCC_PLLSOURCE_HSE;
  RCC_OscInitStruct.PLL.PLLMUL = RCC_PLL_MUL15;
  if (HAL_RCC_OscConfig(&RCC_OscInitStruct) != HAL_OK)
  {
    Error_Handler();
  }
  /** Initializes the CPU, AHB and APB buses clocks
  */
  RCC_ClkInitStruct.ClockType = RCC_CLOCKTYPE_HCLK|RCC_CLOCKTYPE_SYSCLK
                              |RCC_CLOCKTYPE_PCLK1|RCC_CLOCKTYPE_PCLK2;
  RCC_ClkInitStruct.SYSCLKSource = RCC_SYSCLKSOURCE_PLLCLK;
  RCC_ClkInitStruct.AHBCLKDivider = RCC_SYSCLK_DIV1;
  RCC_ClkInitStruct.APB1CLKDivider = RCC_HCLK_DIV2;
  RCC_ClkInitStruct.APB2CLKDivider = RCC_HCLK_DIV1;

  if (HAL_RCC_ClockConfig(&RCC_ClkInitStruct, FLASH_LATENCY_2) != HAL_OK)
  {
    Error_Handler();
  }
}

void Error_Handler(void)
{
  __disable_irq();
  while (1)
  {
  }
}

/************************ (C) COPYRIGHT STMicroelectronics *****END OF FILE****/
